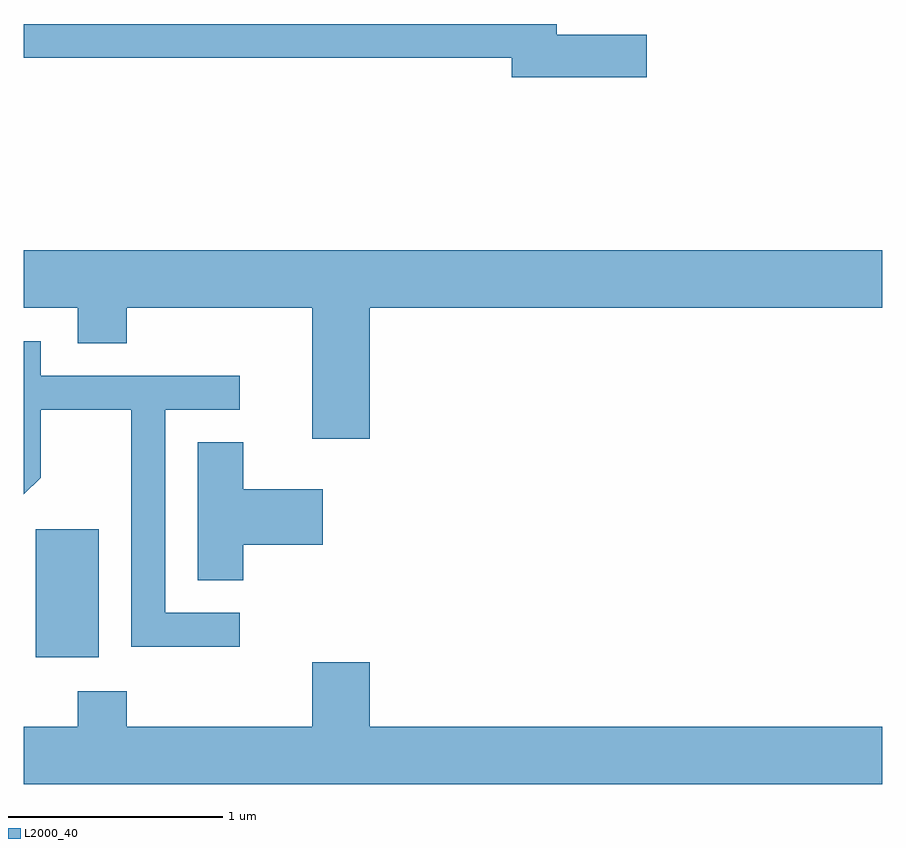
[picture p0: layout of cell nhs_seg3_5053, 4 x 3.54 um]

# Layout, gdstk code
import gdstk
lib = gdstk.Library(unit=1e-6, precision=1e-09)
def R(c, l, rs):  # rectangles x0, y0, x1, y1
    for r in rs: c.add(gdstk.rectangle(r[:2], r[2:], *l))
def P(c, l, *ps):  # polygons
    for p in ps: c.add(gdstk.Polygon(p, *l))
L2000_40 = (2000, 40)

nhs_seg3_5053 = lib.new_cell('nhs_seg3_5053')
R(nhs_seg3_5053, L2000_40, [(333.666,1166.566,333.959,1167.164)])
P(nhs_seg3_5053, L2000_40, [(336.514,1169.469),(336.094,1169.469),(336.094,1169.519),(333.611,1169.519),(333.611,1169.361),(335.886,1169.361),(335.886,1169.271),(336.514,1169.271)],
  [(335.224,1168.196),(337.611,1168.196),(337.611,1168.464),(333.611,1168.464),(333.611,1168.196),(333.861,1168.196),(333.861,1168.031),(334.089,1168.031),(334.089,1168.196),(334.956,1168.196),(334.956,1167.586),(335.224,1167.586)],
  [(334.618,1166.774),(334.269,1166.774),(334.269,1167.721),(334.618,1167.721),(334.618,1167.879),(333.689,1167.879),(333.689,1168.039),(333.611,1168.039),(333.611,1167.326),(333.689,1167.404),(333.689,1167.721),(334.111,1167.721),(334.111,1166.616),(334.618,1166.616)],
  [(334.634,1167.091),(335.004,1167.091),(335.004,1167.349),(334.634,1167.349),(334.634,1167.569),(334.421,1167.569),(334.421,1166.926),(334.634,1166.926)],
  [(337.611,1166.244),(335.224,1166.244),(335.224,1166.544),(334.956,1166.544),(334.956,1166.244),(334.089,1166.244),(334.089,1166.409),(333.861,1166.409),(333.861,1166.244),(333.611,1166.244),(333.611,1165.976),(337.611,1165.976)])

lib.write_gds('nhs_seg3_5053.gds')
